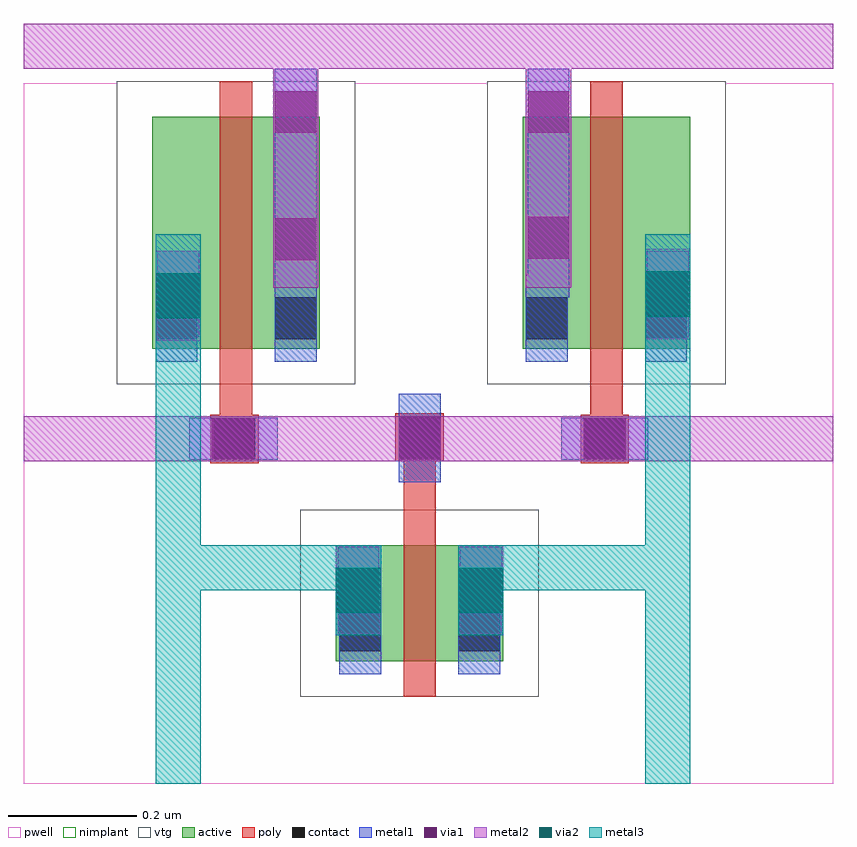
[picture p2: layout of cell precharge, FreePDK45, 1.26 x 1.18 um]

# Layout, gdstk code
from math import pi, radians
import gdstk
lib = gdstk.Library(unit=1e-6, precision=5e-10)
def R(c, l, rs):  # rectangles x0, y0, x1, y1
    for r in rs: c.add(gdstk.rectangle(r[:2], r[2:], *l))
active = (1, 0)
pwell = (2, 0)
nimplant = (4, 0)
vtg = (6, 0)
poly = (9, 0)
contact = (10, 0)
metal1 = (11, 0)
via1 = (12, 0)
metal2 = (13, 0)
via2 = (14, 0)
metal3 = (15, 0)

m2_m1_via = lib.new_cell('M2_M1_via')
R(m2_m1_via, metal1, [(-0.0675,-0.0325,0.0675,0.0325)])
R(m2_m1_via, via1, [(-0.0325,-0.0325,0.0325,0.0325)])
R(m2_m1_via, metal2, [(-0.035,-0.0675,0.035,0.0675)])

m2_m1_viab = lib.new_cell('M2_M1_viaB')
R(m2_m1_viab, metal1, [(-0.0675,-0.0325,0.0675,0.0325)])
R(m2_m1_viab, via1, [(-0.0325,-0.0325,0.0325,0.0325)])
R(m2_m1_viab, metal2, [(-0.0675,-0.035,0.0675,0.035)])

m2_m1_viac = lib.new_cell('M2_M1_viaC')
R(m2_m1_viac, metal1, [(-0.0325,-0.0675,0.0325,0.0675)])
R(m2_m1_viac, via1, [(-0.0325,-0.0325,0.0325,0.0325)])
R(m2_m1_viac, metal2, [(-0.035,-0.0675,0.035,0.0675)])

m3_m2_viab = lib.new_cell('M3_M2_viaB')
R(m3_m2_viab, metal2, [(-0.035,-0.07,0.035,0.07)])
R(m3_m2_viab, via2, [(-0.035,-0.035,0.035,0.035)])
R(m3_m2_viab, metal3, [(-0.035,-0.07,0.035,0.07)])

pcont_0 = lib.new_cell('pcont_0')
R(pcont_0, poly, [(-0.0375,-0.0375,0.0375,0.0375)])
R(pcont_0, contact, [(-0.0325,-0.0325,0.0325,0.0325)])
R(pcont_0, metal1, [(-0.0325,-0.0675,0.0325,0.0675)])

dcont_28 = lib.new_cell('dcont_28')
R(dcont_28, active, [(-0.0375,0.03,0.0375,0.105)])
R(dcont_28, contact, [(-0.0325,0.035,0.0325,0.1)])
R(dcont_28, metal1, [(-0.0325,0,0.0325,0.135)])

nmos_vtg_10 = lib.new_cell('nmos_vtg_10')
R(nmos_vtg_10, active, [(-0.105,0,0.155,0.18), (-0.105,0,-0.03,0.18), (0.08,0,0.155,0.18), (-0.105,0.01,-0.03,0.085), (0.08,0.01,0.155,0.085)])
R(nmos_vtg_10, pwell, [(-0.16,-0.055,0.21,0.235)])
R(nmos_vtg_10, nimplant, [(-0.105,0,0.155,0.18)])
R(nmos_vtg_10, vtg, [(-0.16,-0.055,0.21,0.235)])
R(nmos_vtg_10, poly, [(0,-0.055,0.05,0), (0,-0.055,0.05,0.235), (0,0.18,0.05,0.235)])
nmos_vtg_10.add(gdstk.Reference(dcont_28, (0.1175,-0.02)))
nmos_vtg_10.add(gdstk.Reference(dcont_28, (-0.0675,-0.02)))
nmos_vtg_10.add(gdstk.Label('l = 0.05', (0.06,0.09), layer=239, texttype=0))
nmos_vtg_10.add(gdstk.Label('w = 0.18', (0.025,0.245), layer=239, texttype=0))

nmos_vtg_13 = lib.new_cell('nmos_vtg_13')
R(nmos_vtg_13, active, [(-0.105,0,0.155,0.36), (-0.105,0,-0.03,0.36), (0.08,0,0.155,0.36), (-0.105,0.01,-0.03,0.085), (0.08,0.01,0.155,0.085)])
R(nmos_vtg_13, pwell, [(-0.16,-0.055,0.21,0.415)])
R(nmos_vtg_13, nimplant, [(-0.105,0,0.155,0.36)])
R(nmos_vtg_13, vtg, [(-0.16,-0.055,0.21,0.415)])
R(nmos_vtg_13, poly, [(0,-0.055,0.05,0), (0,-0.055,0.05,0.415), (0,0.36,0.05,0.415)])
nmos_vtg_13.add(gdstk.Reference(dcont_28, (0.1175,-0.02)))
nmos_vtg_13.add(gdstk.Reference(dcont_28, (-0.0675,-0.02)))
nmos_vtg_13.add(gdstk.Label('l = 0.05', (0.06,0.18), layer=239, texttype=0))
nmos_vtg_13.add(gdstk.Label('w = 0.36', (0.025,0.425), layer=239, texttype=0))

precharge = lib.new_cell('precharge')
R(precharge, pwell, [(0,-0.0475,1.2575,1.04)])
R(precharge, poly, [(0.59,0.375,0.64,0.4525), (0.305,0.4975,0.355,0.575), (0.88,0.4975,0.93,0.575)])
R(precharge, metal1, [(0.39,0.7075,0.455,0.955), (0.7825,0.7075,0.8475,0.945)])
R(precharge, metal2, [(0,0.4525,1.2575,0.5225), (0.3875,0.7225,0.4575,0.9325), (0.78,0.7225,0.85,0.9325), (0,1.0625,1.2575,1.1325)])
R(precharge, metal3, [(0.205,-0.0475,0.275,0.805), (0.965,-0.0475,1.035,0.805), (0.26,0.2525,0.4875,0.3225), (0.74,0.2525,0.97,0.3225)])
precharge.add(gdstk.Reference(m2_m1_via, (0.615,0.4875), rotation=pi/2))
precharge.add(gdstk.Reference(m2_m1_viab, (0.9025,0.4875)))
precharge.add(gdstk.Reference(m2_m1_viab, (0.325,0.4875)))
precharge.add(gdstk.Reference(m2_m1_viac, (0.71,0.2525)))
precharge.add(gdstk.Reference(m2_m1_viac, (0.52,0.2525)))
precharge.add(gdstk.Reference(m2_m1_viac, (0.815,0.8)))
precharge.add(gdstk.Reference(m2_m1_viac, (0.4225,0.7975)))
precharge.add(gdstk.Reference(m2_m1_viac, (1,0.7125)))
precharge.add(gdstk.Reference(m2_m1_viac, (0.815,0.995)))
precharge.add(gdstk.Reference(m2_m1_viac, (0.4225,0.995)))
precharge.add(gdstk.Reference(m2_m1_viac, (0.24,0.7125)))
precharge.add(gdstk.Reference(m3_m2_viab, (0.71,0.2525)))
precharge.add(gdstk.Reference(m3_m2_viab, (0.52,0.2525)))
precharge.add(gdstk.Reference(m3_m2_viab, (1,0.7125)))
precharge.add(gdstk.Reference(m3_m2_viab, (0.24,0.71)))
precharge.add(gdstk.Reference(pcont_0, (0.9025,0.4875), rotation=3*pi/2))
precharge.add(gdstk.Reference(pcont_0, (0.615,0.49)))
precharge.add(gdstk.Reference(pcont_0, (0.3275,0.4875), rotation=3*pi/2))
precharge.add(gdstk.Reference(nmos_vtg_10, (0.59,0.1425)))
precharge.add(gdstk.Reference(nmos_vtg_13, (0.305,0.6275)))
precharge.add(gdstk.Reference(nmos_vtg_13, (0.88,0.6275)))

lib.write_gds('precharge.gds')
